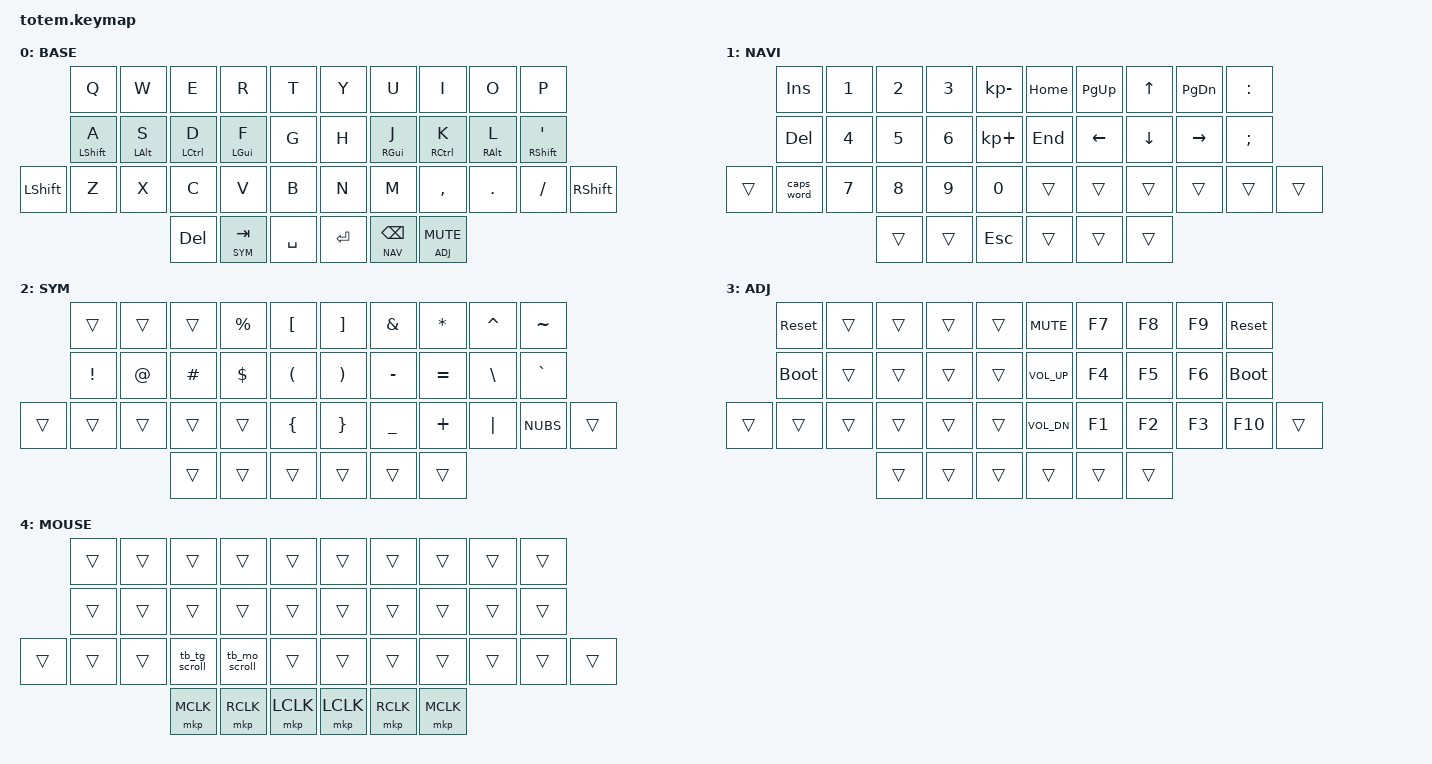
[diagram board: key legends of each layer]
/*
 * Copyright (c) 2023 The ZMK Contributors
 *
 * SPDX-License-Identifier: MIT
 */

#include <behaviors.dtsi>
#include <dt-bindings/zmk/keys.h>
#include <dt-bindings/zmk/bt.h>
#include <dt-bindings/zmk/outputs.h>
#include <dt-bindings/zmk/mouse.h>
#include <interfaces/hid-trackball.dtsi>

#define BASE  0
#define NAV   1
#define SYM   2
#define ADJ   3
#define MOUSE 4

&mt {
    quick-tap-ms = <100>;
    global-quick-tap;
    flavor = "tap-preferred";
    tapping-term-ms = <170>;
};

/ {
    /* ===================== COMBOS ===================== */
    combos {
        compatible = "zmk,combos";

        combo_esc {
            timeout-ms = <50>;
            key-positions = <0 1>;
            bindings = <&kp ESC>;
        };

        combo_undo {
            timeout-ms = <50>;
            key-positions = <21 22>;
            bindings = <&kp LC(Z)>;
        };
        combo_copy {
            timeout-ms = <50>;
            key-positions = <22 23>;
            bindings = <&kp LC(C)>;
        };
        combo_paste {
            timeout-ms = <50>;
            key-positions = <23 24>;
            bindings = <&kp LC(V)>;
        };
        combo_cut {
            timeout-ms = <50>;
            key-positions = <22 24>;
            bindings = <&kp LC(X)>;
        };
    };

    /* ===================== MACROS ===================== */
    macros {
        gif: gif {
            label = "giphy";
            compatible = "zmk,behavior-macro";
            #binding-cells = <0>;

            bindings =
                <&macro_press   &kp LSHFT>,
                <&macro_tap     &kp N2>,
                <&macro_release &kp LSHFT>,
                <&macro_tap     &kp G &kp I &kp F>;
        };
    };

    /* ===================== BEHAVIORS ===================== */
    behaviors {
        hm: homerow_mods {
            compatible = "zmk,behavior-hold-tap";
            #binding-cells = <2>;
            tapping-term-ms = <200>;
            flavor = "tap-preferred";
            bindings = <&kp>, <&kp>;
        };

        hs: homerow_shift {
            compatible = "zmk,behavior-hold-tap";
            #binding-cells = <2>;
            tapping-term-ms = <175>;
            flavor = "balanced";
            bindings = <&kp>, <&kp>;
        };
    };

    /* ===================== KEYMAP ===================== */
    keymap {
        compatible = "zmk,keymap";

        base_layer {
            label = "BASE";
            bindings = <
                &kp Q         &kp W         &kp E         &kp R         &kp T           &kp Y         &kp U         &kp I         &kp O         &kp P
                &hs LSHIFT A  &hm LALT S    &hm LCTRL D   &hm LGUI F    &kp G           &kp H         &hm RGUI J    &hm RCTRL K   &hm RALT L    &hs RSHIFT SQT
    &kp LSHFT     &kp Z         &kp X         &kp C       &kp V         &kp B           &kp N         &kp M         &kp COMMA     &kp DOT       &kp FSLH      &kp RSHFT
                                          &kp DEL     &lt SYM TAB       &kp SPACE       &kp RET       &lt NAV BSPC      &lt ADJ C_MUTE
            >;
        };

        nav_layer {
            label = "NAVI";
            bindings = <
                &kp INSERT    &kp N1     &kp N2     &kp N3     &kp KP_MINUS    &kp HOME      &kp PG_UP     &kp UP        &kp PG_DN     &kp COLON
                &kp DELETE    &kp N4     &kp N5     &kp N6     &kp KP_PLUS     &kp END       &kp LEFT      &kp DOWN      &kp RIGHT     &kp SEMI
                &trans        &caps_word    &kp N7     &kp N8     &kp N9       &kp N0     &trans        &trans        &trans        &trans        &trans        &trans
                                          &trans   &trans     &kp ESC         &trans        &trans        &trans
            >;
        };

        sym_layer {
            label = "SYM";
            bindings = <
                &trans        &trans        &trans        &kp PRCNT     &kp LBKT        &kp RBKT      &kp AMPS      &kp ASTRK      &kp CARET     &kp TILDE
                &kp EXCL      &kp AT        &kp HASH      &kp DLLR      &kp LPAR        &kp RPAR      &kp MINUS     &kp EQUAL      &kp BSLH      &kp GRAVE
                &trans        &trans        &trans        &trans        &trans          &kp LBRC      &kp RBRC      &kp UNDER     &kp PLUS      &kp PIPE      &kp NUBS        &trans
                                          &trans        &trans        &trans          &trans          &trans       &trans 
            >;
        };

        adjust_layer {
            label = "ADJ";
            bindings = <
                &sys_reset    &trans        &trans        &trans        &trans    &kp C_MUTE    &kp F7        &kp F8        &kp F9        &sys_reset
                &bootloader   &trans        &trans        &trans        &trans    &kp C_VOL_UP  &kp F4        &kp F5        &kp F6        &bootloader
                &trans        &trans        &trans        &trans     &trans         &trans  &kp C_VOL_DN  &kp F1        &kp F2        &kp F3        &kp F10       &trans
                                          &trans        &trans        &trans          &trans        &trans        &trans
            >;
        };

        mouse_layer {
            label = "MOUSE";
            bindings = <
                &trans        &trans        &trans        &trans        &trans          &trans        &trans        &trans        &trans        &trans
                &trans     &trans     &trans    &trans        &trans          &trans        &trans       &trans        &trans        &trans
                &trans        &trans        &trans        &tb_tg_scroll       &tb_mo_scroll          &trans        &trans        &trans        &trans        &trans        &trans        &trans
                                          &mkp MCLK       &mkp RCLK &mkp LCLK   &mkp LCLK       &mkp RCLK       &mkp MCLK
            >;
        };
    };
};

&hid_trackball_interface {
    automouse-layer = <4>;
    automouse-layer-timeout-ms = <600>;
};
